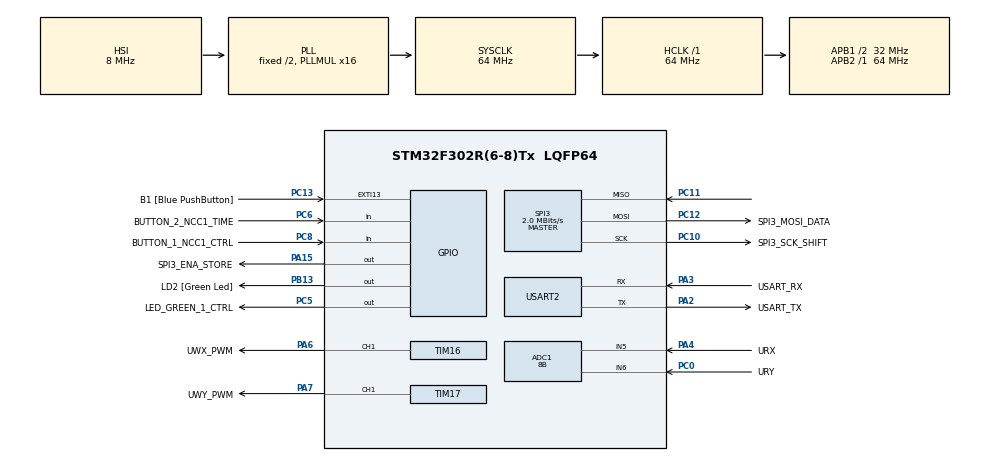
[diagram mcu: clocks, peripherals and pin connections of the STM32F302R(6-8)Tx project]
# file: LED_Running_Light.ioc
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ADC1.Channel-0\#ChannelRegularConversion=ADC_CHANNEL_5
ADC1.Channel-1\#ChannelRegularConversion=ADC_CHANNEL_6
ADC1.ContinuousConvMode=DISABLE
ADC1.NbrOfConversion=2
ADC1.NbrOfConversionFlag=1
ADC1.Offset-0\#ChannelRegularConversion=0
ADC1.Offset-1\#ChannelRegularConversion=0
ADC1.OffsetNumber-0\#ChannelRegularConversion=ADC_OFFSET_NONE
ADC1.OffsetNumber-1\#ChannelRegularConversion=ADC_OFFSET_NONE
ADC1.Rank-0\#ChannelRegularConversion=1
ADC1.Rank-1\#ChannelRegularConversion=2
ADC1.Resolution=ADC_RESOLUTION_8B
ADC1.SamplingTime-0\#ChannelRegularConversion=ADC_SAMPLETIME_1CYCLE_5
ADC1.SamplingTime-1\#ChannelRegularConversion=ADC_SAMPLETIME_1CYCLE_5
ADC1.SamplingTimeOPAMP-1\#ChannelRegularConversion=ADC_SAMPLETIME_61CYCLES_5
ADC1.SequencerNbRanks=1
ADC1.SubFamily=STM32F302x8
ADC1.master=1
Mcu.Family=STM32F3
Mcu.Name=STM32F302R(6-8)Tx
Mcu.Package=LQFP64
NVIC.PriorityGroup=NVIC_PRIORITYGROUP_0
PA13.GPIO_Label=TMS
PA13.Mode=Serial_Wire
PA13.Signal=SYS_JTMS-SWDIO
PA14.GPIO_Label=TCK
PA14.Mode=Serial_Wire
PA14.Signal=SYS_JTCK-SWCLK
PA15.GPIO_Label=SPI3_ENA_STORE
PA15.GPIO_PuPd=GPIO_PULLDOWN
PA15.Signal=GPIO_Output
PA2.GPIO_Label=USART_TX
PA2.GPIO_Mode=GPIO_MODE_AF_PP
PA2.GPIO_PuPd=GPIO_NOPULL
PA2.GPIO_Speed=GPIO_SPEED_FREQ_LOW
PA2.Mode=Asynchronous
PA2.Signal=USART2_TX
PA3.GPIO_Label=USART_RX
PA3.GPIO_Mode=GPIO_MODE_AF_PP
PA3.GPIO_PuPd=GPIO_NOPULL
PA3.GPIO_Speed=GPIO_SPEED_FREQ_LOW
PA3.Mode=Asynchronous
PA3.Signal=USART2_RX
PA4.GPIO_Label=URX
PA4.Mode=IN5-Single-Ended
PA4.Signal=ADC1_IN5
PA6.GPIO_Label=UWX_PWM
PA6.Signal=S_TIM16_CH1
PA7.GPIO_Label=UWY_PWM
PA7.Signal=S_TIM17_CH1
PB13.GPIO_Label=LD2 [Green Led]
PB13.Signal=GPIO_Output
PB3.GPIO_Label=SWO
PB3.Mode=Trace_Asynchronous_SW
PB3.Signal=SYS_JTDO-TRACESWO
PC0.GPIO_Label=URY
PC0.Signal=ADCx_IN6
PC10.GPIO_Label=SPI3_SCK_SHIFT
PC10.Mode=Full_Duplex_Master
PC10.Signal=SPI3_SCK
PC11.Mode=Full_Duplex_Master
PC11.Signal=SPI3_MISO
PC12.GPIO_Label=SPI3_MOSI_DATA
PC12.Mode=Full_Duplex_Master
PC12.Signal=SPI3_MOSI
PC13.GPIO_Label=B1 [Blue PushButton]
PC13.GPIO_ModeDefaultEXTI=GPIO_MODE_IT_FALLING
PC13.Signal=GPXTI13
PC14\ -\ OSC32_IN.Mode=LSE-External-Oscillator
PC14\ -\ OSC32_IN.Signal=RCC_OSC32_IN
PC15\ -\ OSC32_OUT.Mode=LSE-External-Oscillator
PC15\ -\ OSC32_OUT.Signal=RCC_OSC32_OUT
PC5.GPIO_Label=LED_GREEN_1_CTRL
PC5.Signal=GPIO_Output
PC6.GPIO_Label=BUTTON_2_NCC1_TIME
PC6.GPIO_PuPd=GPIO_PULLDOWN
PC6.Signal=GPIO_Input
PC8.GPIO_Label=BUTTON_1_NCC1_CTRL
PC8.GPIO_PuPd=GPIO_PULLDOWN
PC8.Signal=GPIO_Input
PF0-OSC_IN.Mode=HSE-External-Clock-Source
PF0-OSC_IN.Signal=RCC_OSC_IN
PF1-OSC_OUT.Signal=RCC_OSC_OUT
ProjectManager.HeapSize=0x200
ProjectManager.StackSize=0x400
ProjectManager.TargetToolchain=STM32CubeIDE
RCC.AHBFreq_Value=64000000
RCC.APB1CLKDivider=RCC_HCLK_DIV2
RCC.APB1Freq_Value=32000000
RCC.APB1TimFreq_Value=64000000
RCC.APB2Freq_Value=64000000
RCC.APB2TimFreq_Value=64000000
RCC.CortexFreq_Value=64000000
RCC.HCLKFreq_Value=64000000
RCC.HSE_VALUE=8000000
RCC.HSI_VALUE=8000000
RCC.PLLM=8
RCC.PLLMUL=RCC_PLL_MUL16
RCC.PLLN=336
RCC.PLLP=RCC_PLLP_DIV4
RCC.PLLQ=7
RCC.RCC_PLLsource_Clock_Source_FROM_HSE=RCC_HSE_PREDIV_DIV2
RCC.SYSCLKFreq_VALUE=64000000
RCC.SYSCLKSourceVirtual=RCC_SYSCLKSOURCE_PLLCLK
RCC.USBFreq_Value=64000000
SH.ADCx_IN6.0=ADC1_IN6,IN6-Single-Ended
SH.S_TIM16_CH1.0=TIM16_CH1,PWM Generation1 CH1
SH.S_TIM17_CH1.0=TIM17_CH1,PWM Generation1 CH1
SPI3.BaudRatePrescaler=SPI_BAUDRATEPRESCALER_16
SPI3.CalculateBaudRate=2.0 MBits/s
SPI3.DataSize=SPI_DATASIZE_8BIT
SPI3.Direction=SPI_DIRECTION_2LINES
SPI3.Mode=SPI_MODE_MASTER
SPI3.VirtualType=VM_MASTER
TIM16.Channel=TIM_CHANNEL_1
TIM16.Period=6399
TIM16.Pulse=3199
TIM17.Channel=TIM_CHANNEL_1
TIM17.Period=6399
TIM17.Pulse=3199
USART2.VirtualMode-Asynchronous=VM_ASYNC
VP_TIM16_VS_ClockSourceINT.Mode=Enable_Timer
VP_TIM17_VS_ClockSourceINT.Mode=Enable_Timer
board=NUCLEO-F302R8

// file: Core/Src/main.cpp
/* USER CODE BEGIN Header */
/**
  ******************************************************************************
  * @file           : main.c
  * @brief          : Main program body
  ******************************************************************************
  * @attention
  *
  * <h2><center>&copy; Copyright (c) 2020 STMicroelectronics.
  * All rights reserved.</center></h2>
  *
  * This software component is licensed by ST under BSD 3-Clause license,
  * the "License"; You may not use this file except in compliance with the
  * License. You may obtain a copy of the License at:
  *                        opensource.org/licenses/BSD-3-Clause
  *
  ******************************************************************************
  */
/* USER CODE END Header */
#include "main.h"

/* USER CODE BEGIN Includes */
#include <functional>
#include "LEDStrip.h"
#include "Button.h"
#include "Led.h"
#include "SoftwareBus.h"
#include "Joystick.h"
/* USER CODE END Includes */

ADC_HandleTypeDef hadc1;

SPI_HandleTypeDef hspi3;

TIM_HandleTypeDef htim16;
TIM_HandleTypeDef htim17;

UART_HandleTypeDef huart2;

/* USER CODE BEGIN PV */
ADC_ChannelConfTypeDef sConfig = {0};

// Create objects
SoftwareBus sw_bus {};
LED_Strip red_led_strip {&hspi3, SPI3_ENA_STORE_GPIO_Port, SPI3_ENA_STORE_Pin};

Button ctrl_push_btn {
	BUTTON_1_NCC1_CTRL_GPIO_Port,
	BUTTON_1_NCC1_CTRL_Pin,
	std::bind(&SoftwareBus::Send_Ctrl_Button_PushedOn, &sw_bus),
	std::bind(&SoftwareBus::Send_Ctrl_Button_PushedOff, &sw_bus)
};

Button time_push_btn {
	BUTTON_2_NCC1_TIME_GPIO_Port,
	BUTTON_2_NCC1_TIME_Pin,
	std::bind(&SoftwareBus::Send_Time_Button_PushedOn, &sw_bus),
	std::bind(&SoftwareBus::Send_Time_Button_PushedOff, &sw_bus)
};

Led ctrl_green_led {LED_GREEN_1_CTRL_GPIO_Port, LED_GREEN_1_CTRL_Pin};

Led uwx_yellow_led {MX_PWM_TIM16_Start, MX_PWM_TIM16_Reinit, MX_PWM_TIM16_Stop};

Led uwy_red_led {MX_PWM_TIM17_Start, MX_PWM_TIM17_Reinit, MX_PWM_TIM17_Stop};

Joystick joystick {&hadc1, &sConfig, &sw_bus};

uint32_t adc_udx = 0;
uint32_t adc_udy = 0;
uint16_t u16CounterPeriod_udx = 0;
uint16_t u16Pulse_udx = 0;
uint16_t u16CounterPeriod_udy = 0;
uint16_t u16Pulse_udy = 0;
/* USER CODE END PV */

void SystemClock_Config(void);
static void MX_GPIO_Init(void);
static void MX_USART2_UART_Init(void);
static void MX_SPI3_Init(void);
static void MX_ADC1_Init(void);
static void MX_TIM16_Init(void);
static void MX_TIM17_Init(void);

int main(void)
{

  /* MCU Configuration--------------------------------------------------------*/

  /* Reset of all peripherals, Initializes the Flash interface and the Systick. */
  HAL_Init();

  /* Configure the system clock */
  SystemClock_Config();

  /* Initialize all configured peripherals */
  MX_GPIO_Init();
  MX_USART2_UART_Init();
  MX_SPI3_Init();
  MX_ADC1_Init();
  MX_TIM16_Init();
  MX_TIM17_Init();

  /* USER CODE BEGIN 2 */

  // Connect receiver objects to the software bus
  sw_bus.Add_Ctrl_Button_Receiver(0, &ctrl_green_led);
  sw_bus.Add_Ctrl_Button_Receiver(1, &red_led_strip);
  sw_bus.Add_Time_Button_Receiver(0, &red_led_strip);
  sw_bus.Add_Joystick_X_Value_Receiver(0, &uwx_yellow_led);
  sw_bus.Add_Joystick_Y_Value_Receiver(0, &uwy_red_led);

  // Start PWM Timers
  MX_PWM_TIM16_Start();
  MX_PWM_TIM17_Start();

  /* USER CODE END 2 */

  /* Infinite loop */
  while (1)
  {

  }
}

void SystemClock_Config(void)
{
  RCC_OscInitTypeDef RCC_OscInitStruct = {0};
  RCC_ClkInitTypeDef RCC_ClkInitStruct = {0};
  RCC_PeriphCLKInitTypeDef PeriphClkInit = {0};

  /** Initializes the RCC Oscillators according to the specified parameters
  * in the RCC_OscInitTypeDef structure.
  */
  RCC_OscInitStruct.OscillatorType = RCC_OSCILLATORTYPE_HSI;
  RCC_OscInitStruct.HSIState = RCC_HSI_ON;
  RCC_OscInitStruct.HSICalibrationValue = RCC_HSICALIBRATION_DEFAULT;
  RCC_OscInitStruct.PLL.PLLState = RCC_PLL_ON;
  RCC_OscInitStruct.PLL.PLLSource = RCC_PLLSOURCE_HSI;
  RCC_OscInitStruct.PLL.PLLMUL = RCC_PLL_MUL16;
  if (HAL_RCC_OscConfig(&RCC_OscInitStruct) != HAL_OK)
  {
    Error_Handler();
  }
  /** Initializes the CPU, AHB and APB buses clocks
  */
  RCC_ClkInitStruct.ClockType = RCC_CLOCKTYPE_HCLK|RCC_CLOCKTYPE_SYSCLK
                              |RCC_CLOCKTYPE_PCLK1|RCC_CLOCKTYPE_PCLK2;
  RCC_ClkInitStruct.SYSCLKSource = RCC_SYSCLKSOURCE_PLLCLK;
  RCC_ClkInitStruct.AHBCLKDivider = RCC_SYSCLK_DIV1;
  RCC_ClkInitStruct.APB1CLKDivider = RCC_HCLK_DIV2;
  RCC_ClkInitStruct.APB2CLKDivider = RCC_HCLK_DIV1;

  if (HAL_RCC_ClockConfig(&RCC_ClkInitStruct, FLASH_LATENCY_2) != HAL_OK)
  {
    Error_Handler();
  }
  PeriphClkInit.PeriphClockSelection = RCC_PERIPHCLK_TIM16|RCC_PERIPHCLK_TIM17
                              |RCC_PERIPHCLK_ADC1;
  PeriphClkInit.Tim16ClockSelection = RCC_TIM16CLK_HCLK;
  PeriphClkInit.Tim17ClockSelection = RCC_TIM17CLK_HCLK;
  PeriphClkInit.Adc1ClockSelection = RCC_ADC1PLLCLK_DIV1;

  if (HAL_RCCEx_PeriphCLKConfig(&PeriphClkInit) != HAL_OK)
  {
    Error_Handler();
  }
}

static void MX_ADC1_Init(void)
{

//  ADC_ChannelConfTypeDef sConfig = {0};

  /** Common config
  */
  hadc1.Instance = ADC1;
  hadc1.Init.ClockPrescaler = ADC_CLOCK_ASYNC_DIV1;
  hadc1.Init.Resolution = ADC_RESOLUTION_8B;
  hadc1.Init.ScanConvMode = ADC_SCAN_DISABLE;
  hadc1.Init.ContinuousConvMode = DISABLE;
  hadc1.Init.DiscontinuousConvMode = DISABLE;
  hadc1.Init.ExternalTrigConvEdge = ADC_EXTERNALTRIGCONVEDGE_NONE;
  hadc1.Init.ExternalTrigConv = ADC_SOFTWARE_START;
  hadc1.Init.DataAlign = ADC_DATAALIGN_RIGHT;
  hadc1.Init.NbrOfConversion = 1;
  hadc1.Init.DMAContinuousRequests = DISABLE;
  hadc1.Init.EOCSelection = ADC_EOC_SINGLE_CONV;
  hadc1.Init.LowPowerAutoWait = DISABLE;
  hadc1.Init.Overrun = ADC_OVR_DATA_OVERWRITTEN;
  if (HAL_ADC_Init(&hadc1) != HAL_OK)
  {
    Error_Handler();
  }
  /** Configure Regular Channel
  */
  sConfig.Channel = ADC_CHANNEL_5;
  sConfig.Rank = ADC_REGULAR_RANK_1;
  sConfig.SingleDiff = ADC_SINGLE_ENDED;
  sConfig.SamplingTime = ADC_SAMPLETIME_1CYCLE_5;
  sConfig.OffsetNumber = ADC_OFFSET_NONE;
  sConfig.Offset = 0;
  if (HAL_ADC_ConfigChannel(&hadc1, &sConfig) != HAL_OK)
  {
    Error_Handler();
  }

}

static void MX_SPI3_Init(void)
{

  /* SPI3 parameter configuration*/
  hspi3.Instance = SPI3;
  hspi3.Init.Mode = SPI_MODE_MASTER;
  hspi3.Init.Direction = SPI_DIRECTION_2LINES;
  hspi3.Init.DataSize = SPI_DATASIZE_8BIT;
  hspi3.Init.CLKPolarity = SPI_POLARITY_LOW;
  hspi3.Init.CLKPhase = SPI_PHASE_1EDGE;
  hspi3.Init.NSS = SPI_NSS_SOFT;
  hspi3.Init.BaudRatePrescaler = SPI_BAUDRATEPRESCALER_16;
  hspi3.Init.FirstBit = SPI_FIRSTBIT_MSB;
  hspi3.Init.TIMode = SPI_TIMODE_DISABLE;
  hspi3.Init.CRCCalculation = SPI_CRCCALCULATION_DISABLE;
  hspi3.Init.CRCPolynomial = 7;
  hspi3.Init.CRCLength = SPI_CRC_LENGTH_DATASIZE;
  hspi3.Init.NSSPMode = SPI_NSS_PULSE_ENABLE;
  if (HAL_SPI_Init(&hspi3) != HAL_OK)
  {
    Error_Handler();
  }

}

static void MX_TIM16_Init(void)
{

  TIM_OC_InitTypeDef sConfigOC = {0};
  TIM_BreakDeadTimeConfigTypeDef sBreakDeadTimeConfig = {0};

  htim16.Instance = TIM16;
  htim16.Init.Prescaler = 0;
  htim16.Init.CounterMode = TIM_COUNTERMODE_UP;
  htim16.Init.Period = 6399;
  htim16.Init.ClockDivision = TIM_CLOCKDIVISION_DIV1;
  htim16.Init.RepetitionCounter = 0;
  htim16.Init.AutoReloadPreload = TIM_AUTORELOAD_PRELOAD_DISABLE;
  if (HAL_TIM_Base_Init(&htim16) != HAL_OK)
  {
    Error_Handler();
  }
  if (HAL_TIM_PWM_Init(&htim16) != HAL_OK)
  {
    Error_Handler();
  }
  sConfigOC.OCMode = TIM_OCMODE_PWM1;
  sConfigOC.Pulse = 3199;
  sConfigOC.OCPolarity = TIM_OCPOLARITY_HIGH;
  sConfigOC.OCNPolarity = TIM_OCNPOLARITY_HIGH;
  sConfigOC.OCFastMode = TIM_OCFAST_DISABLE;
  sConfigOC.OCIdleState = TIM_OCIDLESTATE_RESET;
  sConfigOC.OCNIdleState = TIM_OCNIDLESTATE_RESET;
  if (HAL_TIM_PWM_ConfigChannel(&htim16, &sConfigOC, TIM_CHANNEL_1) != HAL_OK)
  {
    Error_Handler();
  }
  sBreakDeadTimeConfig.OffStateRunMode = TIM_OSSR_DISABLE;
  sBreakDeadTimeConfig.OffStateIDLEMode = TIM_OSSI_DISABLE;
  sBreakDeadTimeConfig.LockLevel = TIM_LOCKLEVEL_OFF;
  sBreakDeadTimeConfig.DeadTime = 0;
  sBreakDeadTimeConfig.BreakState = TIM_BREAK_DISABLE;
  sBreakDeadTimeConfig.BreakPolarity = TIM_BREAKPOLARITY_HIGH;
  sBreakDeadTimeConfig.BreakFilter = 0;
  sBreakDeadTimeConfig.AutomaticOutput = TIM_AUTOMATICOUTPUT_DISABLE;
  if (HAL_TIMEx_ConfigBreakDeadTime(&htim16, &sBreakDeadTimeConfig) != HAL_OK)
  {
    Error_Handler();
  }
  HAL_TIM_MspPostInit(&htim16);

}

static void MX_TIM17_Init(void)
{

  TIM_OC_InitTypeDef sConfigOC = {0};
  TIM_BreakDeadTimeConfigTypeDef sBreakDeadTimeConfig = {0};

  htim17.Instance = TIM17;
  htim17.Init.Prescaler = 0;
  htim17.Init.CounterMode = TIM_COUNTERMODE_UP;
  htim17.Init.Period = 6399;
  htim17.Init.ClockDivision = TIM_CLOCKDIVISION_DIV1;
  htim17.Init.RepetitionCounter = 0;
  htim17.Init.AutoReloadPreload = TIM_AUTORELOAD_PRELOAD_DISABLE;
  if (HAL_TIM_Base_Init(&htim17) != HAL_OK)
  {
    Error_Handler();
  }
  if (HAL_TIM_PWM_Init(&htim17) != HAL_OK)
  {
    Error_Handler();
  }
  sConfigOC.OCMode = TIM_OCMODE_PWM1;
  sConfigOC.Pulse = 3199;
  sConfigOC.OCPolarity = TIM_OCPOLARITY_HIGH;
  sConfigOC.OCNPolarity = TIM_OCNPOLARITY_HIGH;
  sConfigOC.OCFastMode = TIM_OCFAST_DISABLE;
  sConfigOC.OCIdleState = TIM_OCIDLESTATE_RESET;
  sConfigOC.OCNIdleState = TIM_OCNIDLESTATE_RESET;
  if (HAL_TIM_PWM_ConfigChannel(&htim17, &sConfigOC, TIM_CHANNEL_1) != HAL_OK)
  {
    Error_Handler();
  }
  sBreakDeadTimeConfig.OffStateRunMode = TIM_OSSR_DISABLE;
  sBreakDeadTimeConfig.OffStateIDLEMode = TIM_OSSI_DISABLE;
  sBreakDeadTimeConfig.LockLevel = TIM_LOCKLEVEL_OFF;
  sBreakDeadTimeConfig.DeadTime = 0;
  sBreakDeadTimeConfig.BreakState = TIM_BREAK_DISABLE;
  sBreakDeadTimeConfig.BreakPolarity = TIM_BREAKPOLARITY_HIGH;
  sBreakDeadTimeConfig.BreakFilter = 0;
  sBreakDeadTimeConfig.AutomaticOutput = TIM_AUTOMATICOUTPUT_DISABLE;
  if (HAL_TIMEx_ConfigBreakDeadTime(&htim17, &sBreakDeadTimeConfig) != HAL_OK)
  {
    Error_Handler();
  }
  HAL_TIM_MspPostInit(&htim17);

}

static void MX_USART2_UART_Init(void)
{

  huart2.Instance = USART2;
  huart2.Init.BaudRate = 38400;
  huart2.Init.WordLength = UART_WORDLENGTH_8B;
  huart2.Init.StopBits = UART_STOPBITS_1;
  huart2.Init.Parity = UART_PARITY_NONE;
  huart2.Init.Mode = UART_MODE_TX_RX;
  huart2.Init.HwFlowCtl = UART_HWCONTROL_NONE;
  huart2.Init.OverSampling = UART_OVERSAMPLING_16;
  huart2.Init.OneBitSampling = UART_ONE_BIT_SAMPLE_DISABLE;
  huart2.AdvancedInit.AdvFeatureInit = UART_ADVFEATURE_NO_INIT;
  if (HAL_UART_Init(&huart2) != HAL_OK)
  {
    Error_Handler();
  }

}

static void MX_GPIO_Init(void)
{
  GPIO_InitTypeDef GPIO_InitStruct = {0};

  /* GPIO Ports Clock Enable */
  __HAL_RCC_GPIOC_CLK_ENABLE();
  __HAL_RCC_GPIOF_CLK_ENABLE();
  __HAL_RCC_GPIOA_CLK_ENABLE();
  __HAL_RCC_GPIOB_CLK_ENABLE();

  /*Configure GPIO pin Output Level */
  HAL_GPIO_WritePin(LED_GREEN_1_CTRL_GPIO_Port, LED_GREEN_1_CTRL_Pin, GPIO_PIN_RESET);

  /*Configure GPIO pin Output Level */
  HAL_GPIO_WritePin(LD2_GPIO_Port, LD2_Pin, GPIO_PIN_RESET);

  /*Configure GPIO pin Output Level */
  HAL_GPIO_WritePin(SPI3_ENA_STORE_GPIO_Port, SPI3_ENA_STORE_Pin, GPIO_PIN_RESET);

  /*Configure GPIO pin : B1_Pin */
  GPIO_InitStruct.Pin = B1_Pin;
  GPIO_InitStruct.Mode = GPIO_MODE_IT_FALLING;
  GPIO_InitStruct.Pull = GPIO_NOPULL;
  HAL_GPIO_Init(B1_GPIO_Port, &GPIO_InitStruct);

  /*Configure GPIO pin : LED_GREEN_1_CTRL_Pin */
  GPIO_InitStruct.Pin = LED_GREEN_1_CTRL_Pin;
  GPIO_InitStruct.Mode = GPIO_MODE_OUTPUT_PP;
  GPIO_InitStruct.Pull = GPIO_NOPULL;
  GPIO_InitStruct.Speed = GPIO_SPEED_FREQ_LOW;
  HAL_GPIO_Init(LED_GREEN_1_CTRL_GPIO_Port, &GPIO_InitStruct);

  /*Configure GPIO pin : LD2_Pin */
  GPIO_InitStruct.Pin = LD2_Pin;
  GPIO_InitStruct.Mode = GPIO_MODE_OUTPUT_PP;
  GPIO_InitStruct.Pull = GPIO_NOPULL;
  GPIO_InitStruct.Speed = GPIO_SPEED_FREQ_LOW;
  HAL_GPIO_Init(LD2_GPIO_Port, &GPIO_InitStruct);

  /*Configure GPIO pins : BUTTON_2_NCC1_TIME_Pin BUTTON_1_NCC1_CTRL_Pin */
  GPIO_InitStruct.Pin = BUTTON_2_NCC1_TIME_Pin|BUTTON_1_NCC1_CTRL_Pin;
  GPIO_InitStruct.Mode = GPIO_MODE_INPUT;
  GPIO_InitStruct.Pull = GPIO_PULLDOWN;
  HAL_GPIO_Init(GPIOC, &GPIO_InitStruct);

  /*Configure GPIO pin : SPI3_ENA_STORE_Pin */
  GPIO_InitStruct.Pin = SPI3_ENA_STORE_Pin;
  GPIO_InitStruct.Mode = GPIO_MODE_OUTPUT_PP;
  GPIO_InitStruct.Pull = GPIO_PULLDOWN;
  GPIO_InitStruct.Speed = GPIO_SPEED_FREQ_LOW;
  HAL_GPIO_Init(SPI3_ENA_STORE_GPIO_Port, &GPIO_InitStruct);

}

/* USER CODE BEGIN 4 */

// Cyclical execution every 1ms
void HAL_IncTick(void)
{
	ctrl_push_btn.Compute();
	time_push_btn.Compute();
	red_led_strip.Compute();
	joystick.Compute();
}

// Timer services
void MX_PWM_TIM16_Start(void)
{
	if (HAL_TIM_PWM_Start(&htim16, TIM_CHANNEL_1) != HAL_OK)
	{
		Error_Handler();
	}
}

void MX_PWM_TIM16_Stop(void)
{
	if (HAL_TIM_PWM_Stop(&htim16, TIM_CHANNEL_1) != HAL_OK)
	{
		Error_Handler();
	}
}

//void MX_PWM_TIM16_Reinit(uint16_t u16CounterPeriod, uint16_t u16Pulse)
void MX_PWM_TIM16_Reinit(uint8_t adc_ud)
{
	uint16_t u16Pulse = (adc_ud * 25) / 1;
	u16Pulse = u16Pulse >= 1 ?  u16Pulse - 1 : 0;
	uint16_t u16CounterPeriod = 6399;

	TIM_OC_InitTypeDef sConfigOC = {0};

	htim16.Instance = TIM16;
	htim16.Init.Prescaler = 0;
	htim16.Init.CounterMode = TIM_COUNTERMODE_UP;
	htim16.Init.Period = u16CounterPeriod;
	htim16.Init.ClockDivision = TIM_CLOCKDIVISION_DIV1;
	htim16.Init.RepetitionCounter = 0;
	htim16.Init.AutoReloadPreload = TIM_AUTORELOAD_PRELOAD_DISABLE;
	if (HAL_TIM_Base_Init(&htim16) != HAL_OK)
	{
	Error_Handler();
	}
	if (HAL_TIM_PWM_Init(&htim16) != HAL_OK)
	{
	Error_Handler();
	}
	sConfigOC.OCMode = TIM_OCMODE_PWM1;
	sConfigOC.Pulse = u16Pulse;
	sConfigOC.OCPolarity = TIM_OCPOLARITY_HIGH;
	sConfigOC.OCNPolarity = TIM_OCNPOLARITY_HIGH;
	sConfigOC.OCFastMode = TIM_OCFAST_DISABLE;
	sConfigOC.OCIdleState = TIM_OCIDLESTATE_RESET;
	sConfigOC.OCNIdleState = TIM_OCNIDLESTATE_RESET;
	if (HAL_TIM_PWM_ConfigChannel(&htim16, &sConfigOC, TIM_CHANNEL_1) != HAL_OK)
	{
	Error_Handler();
	}

	HAL_TIM_MspPostInit(&htim16);
}

void MX_PWM_TIM17_Start(void)
{
	if (HAL_TIM_PWM_Start(&htim17, TIM_CHANNEL_1) != HAL_OK)
	{
		Error_Handler();
	}
}

void MX_PWM_TIM17_Stop(void)
{
	if (HAL_TIM_PWM_Stop(&htim17, TIM_CHANNEL_1) != HAL_OK)
	{
		Error_Handler();
	}
}

//void MX_PWM_TIM17_Reinit(uint16_t u16CounterPeriod, uint16_t u16Pulse)
void MX_PWM_TIM17_Reinit(uint8_t adc_ud)
{
	uint16_t u16Pulse = (adc_ud * 25) / 1;
	u16Pulse = u16Pulse >= 1 ?  u16Pulse - 1 : 0;
	uint16_t u16CounterPeriod = 6399;

	TIM_OC_InitTypeDef sConfigOC = {0};

	htim17.Instance = TIM17;
	htim17.Init.Prescaler = 0;
	htim17.Init.CounterMode = TIM_COUNTERMODE_UP;
	htim17.Init.Period = u16CounterPeriod;
	htim17.Init.ClockDivision = TIM_CLOCKDIVISION_DIV1;
	htim17.Init.RepetitionCounter = 0;
	htim17.Init.AutoReloadPreload = TIM_AUTORELOAD_PRELOAD_DISABLE;
	if (HAL_TIM_Base_Init(&htim17) != HAL_OK)
	{
	Error_Handler();
	}
	if (HAL_TIM_PWM_Init(&htim17) != HAL_OK)
	{
	Error_Handler();
	}
	sConfigOC.OCMode = TIM_OCMODE_PWM1;
	sConfigOC.Pulse = u16Pulse;
	sConfigOC.OCPolarity = TIM_OCPOLARITY_HIGH;
	sConfigOC.OCNPolarity = TIM_OCNPOLARITY_HIGH;
	sConfigOC.OCFastMode = TIM_OCFAST_DISABLE;
	sConfigOC.OCIdleState = TIM_OCIDLESTATE_RESET;
	sConfigOC.OCNIdleState = TIM_OCNIDLESTATE_RESET;
	if (HAL_TIM_PWM_ConfigChannel(&htim17, &sConfigOC, TIM_CHANNEL_1) != HAL_OK)
	{
	Error_Handler();
	}

	HAL_TIM_MspPostInit(&htim17);
}
/* USER CODE END 4 */

void Error_Handler(void)
{
}

/************************ (C) COPYRIGHT STMicroelectronics *****END OF FILE****/
